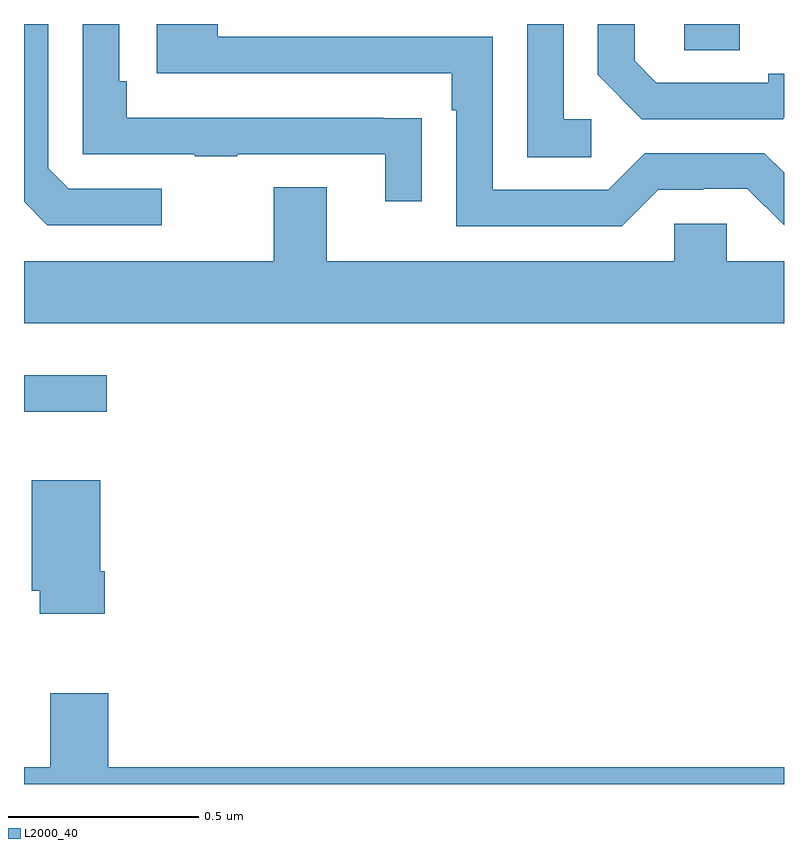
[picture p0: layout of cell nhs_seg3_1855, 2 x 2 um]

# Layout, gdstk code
import gdstk
lib = gdstk.Library(unit=1e-6, precision=1e-09)
def R(c, l, rs):  # rectangles x0, y0, x1, y1
    for r in rs: c.add(gdstk.rectangle(r[:2], r[2:], *l))
def P(c, l, *ps):  # polygons
    for p in ps: c.add(gdstk.Polygon(p, *l))
L2000_40 = (2000, 40)

nhs_seg3_1855 = lib.new_cell('nhs_seg3_1855')
R(nhs_seg3_1855, L2000_40, [(134,671.379,134.218,671.476), (135.738,672.331,135.883,672.4)])
P(nhs_seg3_1855, L2000_40, [(135.047,672.152),(134.945,672.152),(134.945,672.153),(134.27,672.153),(134.27,672.25),(134.25,672.25),(134.25,672.4),(134.154,672.4),(134.154,672.057),(134.449,672.057),(134.449,672.052),(134.561,672.052),(134.561,672.057),(134.951,672.057),(134.951,671.934),(135.047,671.934)],
  [(135.669,671.964),(135.788,671.964),(135.788,671.967),(135.903,671.967),(136,671.87),(136,672.008),(135.948,672.06),(135.633,672.06),(135.537,671.964),(135.234,671.964),(135.234,672.366),(134.51,672.366),(134.51,672.4),(134.349,672.4),(134.349,672.27),(135.125,672.27),(135.125,672.173),(135.138,672.173),(135.138,671.868),(135.573,671.868)],
  [(135.493,672.15),(135.42,672.15),(135.42,672.4),(135.324,672.4),(135.324,672.049),(135.493,672.049)],
  [(135.998,672.153),(136,672.153),(136,672.269),(135.959,672.269),(135.959,672.246),(135.664,672.246),(135.607,672.303),(135.607,672.4),(135.51,672.4),(135.51,672.266),(135.626,672.15),(135.998,672.15)],
  [(134.362,671.967),(134.118,671.967),(134.064,672.021),(134.064,672.4),(134,672.4),(134,671.932),(134.061,671.871),(134.362,671.871)],
  [(136,671.776),(135.849,671.776),(135.849,671.874),(135.711,671.874),(135.711,671.776),(134.797,671.776),(134.797,671.971),(134.657,671.971),(134.657,671.776),(134,671.776),(134,671.612),(136,671.612)],
  [(134.213,670.96),(134.2,670.96),(134.2,671.2),(134.021,671.2),(134.021,670.908),(134.042,670.908),(134.042,670.848),(134.213,670.848)],
  [(136,670.444),(134.222,670.444),(134.222,670.639),(134.069,670.639),(134.069,670.444),(134,670.444),(134,670.4),(136,670.4)])

lib.write_gds('nhs_seg3_1855.gds')
